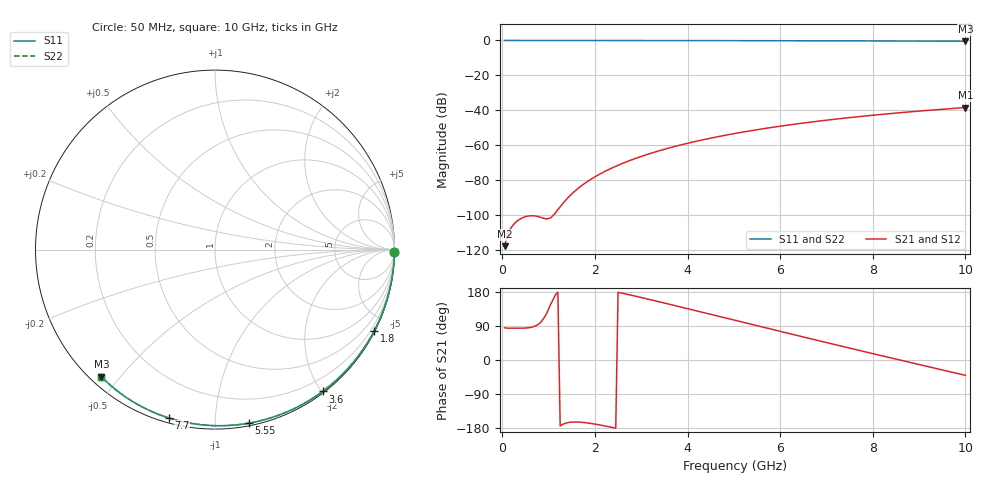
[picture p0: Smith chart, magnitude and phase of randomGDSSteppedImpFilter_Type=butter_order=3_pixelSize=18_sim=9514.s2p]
! freq	dB(S11)	phase(S11)	dB(S12)	phase(S12)
!  dB(S21)	phase(S21)	dB(S22)	phase(S22)
!S-par simulation data
#  GHz  S  DB  R 50
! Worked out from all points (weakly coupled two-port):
!   200 points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, 50 MHz to 10 GHz, reference 50 ohm
!   highest |S21| = -38.37 dB at 10 GHz (marker M1); lowest = -117.6 dB at 50 MHz (marker M2)
!   lowest |S11| = -0.4 dB at 10 GHz (marker M3), VSWR 39.05, Z = 1.54 - j22.4 ohm
!   |S11| at or under -10 dB: nowhere
!   |S22| runs from -0.4 to 0.0 dB; largest |S21 - S12| = 0
!   S11 on the Smith chart (normalised r, x): 50 MHz: open; 1.8 GHz: 0.04, -4.16; 3.6 GHz: 0.02, -2.01; 5.55 GHz: 0.02, -1.22; 7.7 GHz: 0.02, -0.76; 10 GHz: 0.03, -0.45
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0.05  -0.00 -0.8  -117.63 85.1  -117.63 85.1  -0.00 -0.8
0.9  -0.02 -13.6  -101.78 111.1  -101.78 111.1  -0.02 -13.6
1.75  -0.03 -26.3  -82.29 -164.9  -82.29 -164.9  -0.03 -26.3
1.8  -0.03 -27.0  -81.35 -165.5  -81.35 -165.5  -0.03 -27.0
1.85  -0.04 -27.7  -80.46 -166.3  -80.46 -166.3  -0.04 -27.7
1.9  -0.04 -28.5  -79.60 -167.2  -79.60 -167.2  -0.04 -28.5
2.05  -0.04 -30.7  -77.23 -170.2  -77.23 -170.2  -0.04 -30.7
2.25  -0.04 -33.6  -74.42 -174.8  -74.42 -174.8  -0.04 -33.6
2.45  -0.05 -36.5  -71.95 -179.9  -71.95 -179.9  -0.05 -36.5
2.65  -0.05 -39.4  -69.73 174.7  -69.73 174.7  -0.05 -39.4
3  -0.06 -44.4  -66.32 164.9  -66.32 164.9  -0.06 -44.4
3.4  -0.07 -50.0  -62.98 153.3  -62.98 153.3  -0.07 -50.0
3.6  -0.07 -52.8  -61.49 147.4  -61.49 147.4  -0.07 -52.8
4.3  -0.09 -62.4  -56.98 126.5  -56.98 126.5  -0.09 -62.4
5.05  -0.11 -72.4  -53.06 104.0  -53.06 104.0  -0.11 -72.4
5.55  -0.13 -78.9  -50.82 89.0  -50.82 89.0  -0.13 -78.9
6.1  -0.15 -85.8  -48.65 72.6  -48.65 72.6  -0.15 -85.8
6.7  -0.18 -93.3  -46.55 54.8  -46.55 54.8  -0.18 -93.3
7.7  -0.24 -105.3  -43.55 25.5  -43.55 25.5  -0.24 -105.3
8.35  -0.29 -112.9  -41.88 6.7  -41.88 6.7  -0.29 -112.9
9.15  -0.36 -122.1  -40.06 -16.2  -40.06 -16.2  -0.36 -122.1
10  -0.44 -131.7  -38.37 -40.4  -38.37 -40.4  -0.44 -131.8
